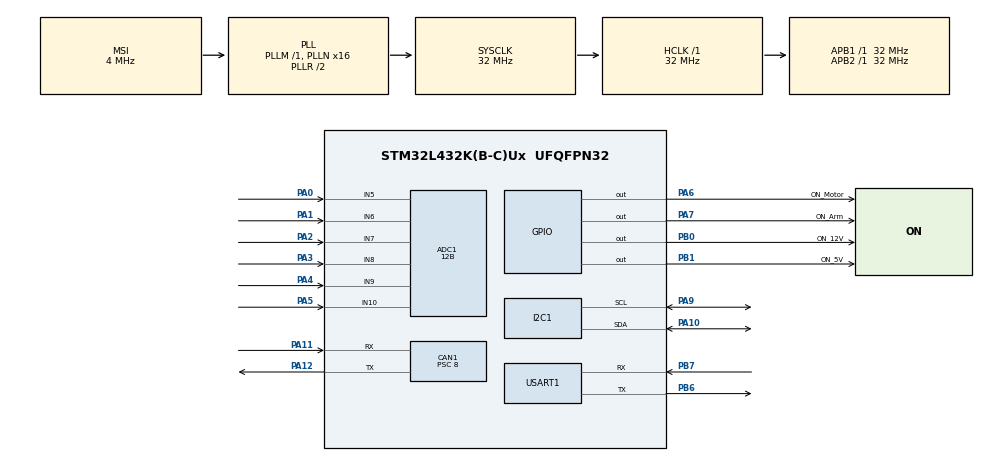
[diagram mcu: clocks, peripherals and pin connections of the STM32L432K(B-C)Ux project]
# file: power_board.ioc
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ADC1.Channel-0\#ChannelRegularConversion=ADC_CHANNEL_5
ADC1.Channel-1\#ChannelRegularConversion=ADC_CHANNEL_6
ADC1.Channel-2\#ChannelRegularConversion=ADC_CHANNEL_7
ADC1.Channel-3\#ChannelRegularConversion=ADC_CHANNEL_8
ADC1.Channel-4\#ChannelRegularConversion=ADC_CHANNEL_9
ADC1.Channel-5\#ChannelRegularConversion=ADC_CHANNEL_10
ADC1.ContinuousConvMode=ENABLE
ADC1.DMAContinuousRequests=ENABLE
ADC1.NbrOfConversion=6
ADC1.NbrOfConversionFlag=1
ADC1.OffsetNumber-0\#ChannelRegularConversion=ADC_OFFSET_NONE
ADC1.OffsetNumber-1\#ChannelRegularConversion=ADC_OFFSET_NONE
ADC1.OffsetNumber-2\#ChannelRegularConversion=ADC_OFFSET_NONE
ADC1.OffsetNumber-3\#ChannelRegularConversion=ADC_OFFSET_NONE
ADC1.OffsetNumber-4\#ChannelRegularConversion=ADC_OFFSET_NONE
ADC1.OffsetNumber-5\#ChannelRegularConversion=ADC_OFFSET_NONE
ADC1.Rank-0\#ChannelRegularConversion=1
ADC1.Rank-1\#ChannelRegularConversion=2
ADC1.Rank-2\#ChannelRegularConversion=3
ADC1.Rank-3\#ChannelRegularConversion=4
ADC1.Rank-4\#ChannelRegularConversion=5
ADC1.Rank-5\#ChannelRegularConversion=6
ADC1.Resolution=ADC_RESOLUTION_12B
ADC1.SamplingTime-0\#ChannelRegularConversion=ADC_SAMPLETIME_92CYCLES_5
ADC1.SamplingTime-1\#ChannelRegularConversion=ADC_SAMPLETIME_92CYCLES_5
ADC1.SamplingTime-2\#ChannelRegularConversion=ADC_SAMPLETIME_92CYCLES_5
ADC1.SamplingTime-3\#ChannelRegularConversion=ADC_SAMPLETIME_92CYCLES_5
ADC1.SamplingTime-4\#ChannelRegularConversion=ADC_SAMPLETIME_92CYCLES_5
ADC1.SamplingTime-5\#ChannelRegularConversion=ADC_SAMPLETIME_92CYCLES_5
ADC1.master=1
CAN1.BS1=CAN_BS1_13TQ
CAN1.BS2=CAN_BS2_2TQ
CAN1.CalculateBaudRate=250000
CAN1.CalculateTimeBit=4000
CAN1.CalculateTimeQuantum=250.0
CAN1.Prescaler=8
Dma.ADC1.0.Direction=DMA_PERIPH_TO_MEMORY
Dma.ADC1.0.Instance=DMA1_Channel1
Dma.ADC1.0.MemDataAlignment=DMA_MDATAALIGN_HALFWORD
Dma.ADC1.0.MemInc=DMA_MINC_ENABLE
Dma.ADC1.0.Mode=DMA_CIRCULAR
Dma.ADC1.0.PeriphDataAlignment=DMA_PDATAALIGN_HALFWORD
Dma.ADC1.0.PeriphInc=DMA_PINC_DISABLE
Dma.ADC1.0.Priority=DMA_PRIORITY_LOW
Dma.Request0=ADC1
I2C1.Timing=0x00B07CB4
Mcu.Family=STM32L4
Mcu.Name=STM32L432K(B-C)Ux
Mcu.Package=UFQFPN32
NVIC.DMA1_Channel1_IRQn=true\:0\:0\:false\:false\:true\:false\:true\:true
NVIC.PriorityGroup=NVIC_PRIORITYGROUP_4
PA0.Signal=ADCx_IN5
PA1.Signal=ADCx_IN6
PA10.Mode=I2C
PA10.Signal=I2C1_SDA
PA11.Mode=CAN_Activate
PA11.Signal=CAN1_RX
PA12.Mode=CAN_Activate
PA12.Signal=CAN1_TX
PA13\ (JTMS-SWDIO).Mode=Serial_Wire
PA13\ (JTMS-SWDIO).Signal=SYS_JTMS-SWDIO
PA14\ (JTCK-SWCLK).Mode=Serial_Wire
PA14\ (JTCK-SWCLK).Signal=SYS_JTCK-SWCLK
PA2.Signal=ADCx_IN7
PA3.Signal=ADCx_IN8
PA4.Signal=ADCx_IN9
PA5.Signal=ADCx_IN10
PA6.GPIO_Label=ON_Motor
PA6.Signal=GPIO_Output
PA7.GPIO_Label=ON_Arm
PA7.Signal=GPIO_Output
PA9.Mode=I2C
PA9.Signal=I2C1_SCL
PB0.GPIO_Label=ON_12V
PB0.Signal=GPIO_Output
PB1.GPIO_Label=ON_5V
PB1.Signal=GPIO_Output
PB6.Mode=Asynchronous
PB6.Signal=USART1_TX
PB7.Mode=Asynchronous
PB7.Signal=USART1_RX
ProjectManager.HeapSize=0x200
ProjectManager.StackSize=0x400
ProjectManager.TargetToolchain=STM32CubeIDE
RCC.ADCFreq_Value=32000000
RCC.AHBFreq_Value=32000000
RCC.APB1Freq_Value=32000000
RCC.APB1TimFreq_Value=32000000
RCC.APB2Freq_Value=32000000
RCC.APB2TimFreq_Value=32000000
RCC.CortexFreq_Value=32000000
RCC.HCLKFreq_Value=32000000
RCC.HSE_VALUE=8000000
RCC.HSI48_VALUE=48000000
RCC.HSI_VALUE=16000000
RCC.LSE_VALUE=32768
RCC.MSI_VALUE=4000000
RCC.PLLN=16
RCC.PLLSAI1N=16
RCC.SYSCLKFreq_VALUE=32000000
RCC.SYSCLKSource=RCC_SYSCLKSOURCE_PLLCLK
RCC.USBFreq_Value=32000000
RCC.VCOOutputFreq_Value=64000000
SH.ADCx_IN10.0=ADC1_IN10,IN10-Single-Ended
SH.ADCx_IN5.0=ADC1_IN5,IN5-Single-Ended
SH.ADCx_IN6.0=ADC1_IN6,IN6-Single-Ended
SH.ADCx_IN7.0=ADC1_IN7,IN7-Single-Ended
SH.ADCx_IN8.0=ADC1_IN8,IN8-Single-Ended
SH.ADCx_IN9.0=ADC1_IN9,IN9-Single-Ended
USART1.VirtualMode-Asynchronous=VM_ASYNC
board=custom

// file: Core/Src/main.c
/* USER CODE BEGIN Header */
/**
  ******************************************************************************
  * @file           : main.c
  * @brief          : Main program body
  ******************************************************************************
  * @attention
  *
  * Copyright (c) 2025 STMicroelectronics.
  * All rights reserved.
  *
  * This software is licensed under terms that can be found in the LICENSE file
  * in the root directory of this software component.
  * If no LICENSE file comes with this software, it is provided AS-IS.
  *
  ******************************************************************************
  */
/* USER CODE END Header */
#include "main.h"

/* USER CODE BEGIN Includes */
#include "stm32l4xx_hal.h"
#include "stm32l4xx_hal_i2c.h"

/* USER CODE END Includes */

ADC_HandleTypeDef hadc1;
DMA_HandleTypeDef hdma_adc1;

CAN_HandleTypeDef hcan1;

I2C_HandleTypeDef hi2c1;

UART_HandleTypeDef huart1;

void SystemClock_Config(void);
static void MX_GPIO_Init(void);
static void MX_DMA_Init(void);
static void MX_CAN1_Init(void);
static void MX_ADC1_Init(void);
static void MX_I2C1_Init(void);
static void MX_USART1_UART_Init(void);
/* USER CODE BEGIN PFP */

void INA226_WriteRegister(uint8_t reg, uint16_t value);
uint16_t INA226_ReadRegister(uint8_t reg);
void INA226_Init(void);
float INA226_ReadCurrent(void);
void Send_CAN_Message(uint8_t d0, uint8_t d1, uint8_t d2, uint8_t d3, uint8_t d4, uint8_t d5, uint8_t d6, uint8_t d7);
void Power_ON();
void Power_OFF();

/* USER CODE END PFP */

/* USER CODE BEGIN 0 */
#define INA226_ADDR        	(0x40 << 1)
#define INA226_REG_CONFIG  	0x00
#define INA226_REG_CALIB   	0x05
#define INA226_REG_CURRENT 	0x04
#define DEVICE_ID			301

#define R_SHUNT 			0.002f
#define CURRENT_LSB         0.002f
#define CALIBRATION_VALUE   ((int)(0.00512f / (CURRENT_LSB * R_SHUNT))) // best if it's an integer (without mapping)

extern I2C_HandleTypeDef hi2c1;

void INA226_WriteRegister(uint8_t reg, uint16_t value)
{
    uint8_t data[3];
    data[0] = reg;
    data[1] = (value >> 8) & 0xFF;
    data[2] = value & 0xFF;
    HAL_I2C_Master_Transmit(&hi2c1, INA226_ADDR, data, 3, HAL_MAX_DELAY);
}

uint16_t INA226_ReadRegister(uint8_t reg)
{
    uint8_t data[2];
    HAL_I2C_Master_Transmit(&hi2c1, INA226_ADDR, &reg, 1, HAL_MAX_DELAY);
    HAL_I2C_Master_Receive(&hi2c1, INA226_ADDR, data, 2, HAL_MAX_DELAY);
    return (data[0] << 8) | data[1];
}

void INA226_Init(void)
{
    INA226_WriteRegister(INA226_REG_CONFIG, 0x4127);
    INA226_WriteRegister(INA226_REG_CALIB, CALIBRATION_VALUE);
}

float INA226_ReadCurrent(void)
{
    uint16_t raw = INA226_ReadRegister(INA226_REG_CURRENT);
    return raw * CURRENT_LSB;
}

void Send_CAN_Message(uint8_t d0, uint8_t d1, uint8_t d2, uint8_t d3, uint8_t d4, uint8_t d5, uint8_t d6, uint8_t d7)
{
    CAN_TxHeaderTypeDef txHeader;
    uint32_t txMailbox;

    txHeader.StdId = 1<<10 | DEVICE_ID;            // Standard 11-bit ID
    txHeader.RTR = CAN_RTR_DATA;       // Data frame
    txHeader.IDE = CAN_ID_STD;         // Standard frame (not extended)
    txHeader.DLC = 8;             // Number of data bytes (1–8)
    txHeader.TransmitGlobalTime = DISABLE;
    static uint8_t data[8];
	data[0] = d0;
	data[1] = d1;
	data[2] = d2;
	data[3] = d3;
	data[4] = d4;
	data[5] = d5;
	data[6] = d6;
	data[7] = d7;
    HAL_CAN_AddTxMessage(&hcan1, &txHeader, data, &txMailbox);
}

void Power_ON()
{
	HAL_GPIO_WritePin(ON_5V_GPIO_Port, ON_5V_Pin, GPIO_PIN_SET);
	HAL_Delay(500);
	HAL_GPIO_WritePin(ON_12V_GPIO_Port, ON_12V_Pin, GPIO_PIN_SET);
	HAL_Delay(500);
	HAL_GPIO_WritePin(ON_Arm_GPIO_Port, ON_Arm_Pin, GPIO_PIN_SET);
	HAL_Delay(500);
	HAL_GPIO_WritePin(ON_Motor_GPIO_Port, ON_Motor_Pin, GPIO_PIN_SET);
}

void Power_OFF()
{
	HAL_GPIO_WritePin(ON_Motor_GPIO_Port, ON_Motor_Pin, GPIO_PIN_RESET);
	// HAL_Delay(250);
	HAL_GPIO_WritePin(ON_Arm_GPIO_Port, ON_Arm_Pin, GPIO_PIN_RESET);
	HAL_GPIO_WritePin(ON_12V_GPIO_Port, ON_12V_Pin, GPIO_PIN_RESET);
	// HAL_Delay(250);
	HAL_GPIO_WritePin(ON_5V_GPIO_Port, ON_5V_Pin, GPIO_PIN_RESET);

}
uint16_t adc_buffer[6];
/* USER CODE END 0 */

int main(void)
{

  /* MCU Configuration--------------------------------------------------------*/

  /* Reset of all peripherals, Initializes the Flash interface and the Systick. */
  HAL_Init();

  /* Configure the system clock */
  SystemClock_Config();

  /* Initialize all configured peripherals */
  MX_GPIO_Init();
  MX_DMA_Init();
  MX_CAN1_Init();
  MX_ADC1_Init();
  MX_I2C1_Init();
  MX_USART1_UART_Init();
  /* USER CODE BEGIN 2 */

  // Configure CAN Filter
  CAN_FilterTypeDef canfilter;
  canfilter.FilterActivation = CAN_FILTER_ENABLE;
  canfilter.FilterBank = 0;
  canfilter.FilterFIFOAssignment = CAN_RX_FIFO0;
  canfilter.FilterIdHigh = 0x0000; // Accept all IDs (or filter specific ones)
  canfilter.FilterIdLow = 0x0000;
  canfilter.FilterMaskIdHigh = 0x0000;
  canfilter.FilterMaskIdLow = 0x0000;
  canfilter.FilterMode = CAN_FILTERMODE_IDMASK;
  canfilter.FilterScale = CAN_FILTERSCALE_32BIT;
  HAL_CAN_ConfigFilter(&hcan1, &canfilter);

  HAL_CAN_Start(&hcan1);
  HAL_CAN_ActivateNotification(&hcan1, CAN_IT_TX_MAILBOX_EMPTY);
  HAL_CAN_ActivateNotification(&hcan1, CAN_IT_RX_FIFO0_MSG_PENDING);

  Power_ON();

  HAL_ADC_Start_DMA(&hadc1, adc_buffer, 6);
  /* USER CODE END 2 */

  /* Infinite loop */
  /* USER CODE BEGIN WHILE */
  while (1)
  {
	  HAL_Delay(1000);
	  float lastVoltage = 0.0;
	  float minVoltage = 10.0;
	  for (int i = 0; i < 6; i++)
	  {
		  float voltage = adc_buffer[i] * (3.3f / 4095.0f);
		  voltage *= (((float)(3 * (i + 1))) / 2.0f);
		  float tmp = voltage;
		  voltage -= lastVoltage;
		  lastVoltage = tmp;

		  if (minVoltage > voltage) {
			  minVoltage = voltage;
		  }

		  // if (voltage < 3.6) {
			// HAL_GPIO_WritePin(ON_Motor_GPIO_Port, ON_Motor_Pin, GPIO_PIN_RESET);
		  // }

		  // if (voltage < 3.5) {
			//   HAL_GPIO_WritePin(ON_Arm_GPIO_Port, ON_Arm_Pin, GPIO_PIN_RESET);
			//   HAL_GPIO_WritePin(ON_12V_GPIO_Port, ON_12V_Pin, GPIO_PIN_RESET);
		  // }
	  }

	  Send_CAN_Message(0, (uint8_t)(adc_buffer[0] >> 8), (uint8_t)(adc_buffer[0]), (uint8_t)(adc_buffer[1] >> 8), (uint8_t)(adc_buffer[1]), (uint8_t)(adc_buffer[2] >> 8), (uint8_t)(adc_buffer[2]), 0);
	  Send_CAN_Message(1, (uint8_t)(adc_buffer[3] >> 8), (uint8_t)(adc_buffer[3]), (uint8_t)(adc_buffer[4] >> 8), (uint8_t)(adc_buffer[4]), (uint8_t)(adc_buffer[5] >> 8), (uint8_t)(adc_buffer[5]), 0);

	  if (minVoltage > 3.7) {
		  Power_ON();
	  }

    /* USER CODE END WHILE */

  }
}

void SystemClock_Config(void)
{
  RCC_OscInitTypeDef RCC_OscInitStruct = {0};
  RCC_ClkInitTypeDef RCC_ClkInitStruct = {0};

  /** Configure the main internal regulator output voltage
  */
  if (HAL_PWREx_ControlVoltageScaling(PWR_REGULATOR_VOLTAGE_SCALE1) != HAL_OK)
  {
    Error_Handler();
  }

  /** Initializes the RCC Oscillators according to the specified parameters
  * in the RCC_OscInitTypeDef structure.
  */
  RCC_OscInitStruct.OscillatorType = RCC_OSCILLATORTYPE_MSI;
  RCC_OscInitStruct.MSIState = RCC_MSI_ON;
  RCC_OscInitStruct.MSICalibrationValue = 0;
  RCC_OscInitStruct.MSIClockRange = RCC_MSIRANGE_6;
  RCC_OscInitStruct.PLL.PLLState = RCC_PLL_ON;
  RCC_OscInitStruct.PLL.PLLSource = RCC_PLLSOURCE_MSI;
  RCC_OscInitStruct.PLL.PLLM = 1;
  RCC_OscInitStruct.PLL.PLLN = 16;
  RCC_OscInitStruct.PLL.PLLP = RCC_PLLP_DIV7;
  RCC_OscInitStruct.PLL.PLLQ = RCC_PLLQ_DIV2;
  RCC_OscInitStruct.PLL.PLLR = RCC_PLLR_DIV2;
  if (HAL_RCC_OscConfig(&RCC_OscInitStruct) != HAL_OK)
  {
    Error_Handler();
  }

  /** Initializes the CPU, AHB and APB buses clocks
  */
  RCC_ClkInitStruct.ClockType = RCC_CLOCKTYPE_HCLK|RCC_CLOCKTYPE_SYSCLK
                              |RCC_CLOCKTYPE_PCLK1|RCC_CLOCKTYPE_PCLK2;
  RCC_ClkInitStruct.SYSCLKSource = RCC_SYSCLKSOURCE_PLLCLK;
  RCC_ClkInitStruct.AHBCLKDivider = RCC_SYSCLK_DIV1;
  RCC_ClkInitStruct.APB1CLKDivider = RCC_HCLK_DIV1;
  RCC_ClkInitStruct.APB2CLKDivider = RCC_HCLK_DIV1;

  if (HAL_RCC_ClockConfig(&RCC_ClkInitStruct, FLASH_LATENCY_1) != HAL_OK)
  {
    Error_Handler();
  }
}

static void MX_ADC1_Init(void)
{

  ADC_ChannelConfTypeDef sConfig = {0};

  /** Common config
  */
  hadc1.Instance = ADC1;
  hadc1.Init.ClockPrescaler = ADC_CLOCK_ASYNC_DIV1;
  hadc1.Init.Resolution = ADC_RESOLUTION_12B;
  hadc1.Init.DataAlign = ADC_DATAALIGN_RIGHT;
  hadc1.Init.ScanConvMode = ADC_SCAN_ENABLE;
  hadc1.Init.EOCSelection = ADC_EOC_SINGLE_CONV;
  hadc1.Init.LowPowerAutoWait = DISABLE;
  hadc1.Init.ContinuousConvMode = ENABLE;
  hadc1.Init.NbrOfConversion = 6;
  hadc1.Init.DiscontinuousConvMode = DISABLE;
  hadc1.Init.ExternalTrigConv = ADC_SOFTWARE_START;
  hadc1.Init.ExternalTrigConvEdge = ADC_EXTERNALTRIGCONVEDGE_NONE;
  hadc1.Init.DMAContinuousRequests = ENABLE;
  hadc1.Init.Overrun = ADC_OVR_DATA_PRESERVED;
  hadc1.Init.OversamplingMode = DISABLE;
  if (HAL_ADC_Init(&hadc1) != HAL_OK)
  {
    Error_Handler();
  }

  /** Configure Regular Channel
  */
  sConfig.Channel = ADC_CHANNEL_5;
  sConfig.Rank = ADC_REGULAR_RANK_1;
  sConfig.SamplingTime = ADC_SAMPLETIME_92CYCLES_5;
  sConfig.SingleDiff = ADC_SINGLE_ENDED;
  sConfig.OffsetNumber = ADC_OFFSET_NONE;
  sConfig.Offset = 0;
  if (HAL_ADC_ConfigChannel(&hadc1, &sConfig) != HAL_OK)
  {
    Error_Handler();
  }

  /** Configure Regular Channel
  */
  sConfig.Channel = ADC_CHANNEL_6;
  sConfig.Rank = ADC_REGULAR_RANK_2;
  if (HAL_ADC_ConfigChannel(&hadc1, &sConfig) != HAL_OK)
  {
    Error_Handler();
  }

  /** Configure Regular Channel
  */
  sConfig.Channel = ADC_CHANNEL_7;
  sConfig.Rank = ADC_REGULAR_RANK_3;
  if (HAL_ADC_ConfigChannel(&hadc1, &sConfig) != HAL_OK)
  {
    Error_Handler();
  }

  /** Configure Regular Channel
  */
  sConfig.Channel = ADC_CHANNEL_8;
  sConfig.Rank = ADC_REGULAR_RANK_4;
  if (HAL_ADC_ConfigChannel(&hadc1, &sConfig) != HAL_OK)
  {
    Error_Handler();
  }

  /** Configure Regular Channel
  */
  sConfig.Channel = ADC_CHANNEL_9;
  sConfig.Rank = ADC_REGULAR_RANK_5;
  if (HAL_ADC_ConfigChannel(&hadc1, &sConfig) != HAL_OK)
  {
    Error_Handler();
  }

  /** Configure Regular Channel
  */
  sConfig.Channel = ADC_CHANNEL_10;
  sConfig.Rank = ADC_REGULAR_RANK_6;
  if (HAL_ADC_ConfigChannel(&hadc1, &sConfig) != HAL_OK)
  {
    Error_Handler();
  }

}

static void MX_CAN1_Init(void)
{

  hcan1.Instance = CAN1;
  hcan1.Init.Prescaler = 8;
  hcan1.Init.Mode = CAN_MODE_NORMAL;
  hcan1.Init.SyncJumpWidth = CAN_SJW_1TQ;
  hcan1.Init.TimeSeg1 = CAN_BS1_13TQ;
  hcan1.Init.TimeSeg2 = CAN_BS2_2TQ;
  hcan1.Init.TimeTriggeredMode = DISABLE;
  hcan1.Init.AutoBusOff = DISABLE;
  hcan1.Init.AutoWakeUp = DISABLE;
  hcan1.Init.AutoRetransmission = DISABLE;
  hcan1.Init.ReceiveFifoLocked = DISABLE;
  hcan1.Init.TransmitFifoPriority = DISABLE;
  if (HAL_CAN_Init(&hcan1) != HAL_OK)
  {
    Error_Handler();
  }

}

static void MX_I2C1_Init(void)
{

  hi2c1.Instance = I2C1;
  hi2c1.Init.Timing = 0x00B07CB4;
  hi2c1.Init.OwnAddress1 = 0;
  hi2c1.Init.AddressingMode = I2C_ADDRESSINGMODE_7BIT;
  hi2c1.Init.DualAddressMode = I2C_DUALADDRESS_DISABLE;
  hi2c1.Init.OwnAddress2 = 0;
  hi2c1.Init.OwnAddress2Masks = I2C_OA2_NOMASK;
  hi2c1.Init.GeneralCallMode = I2C_GENERALCALL_DISABLE;
  hi2c1.Init.NoStretchMode = I2C_NOSTRETCH_DISABLE;
  if (HAL_I2C_Init(&hi2c1) != HAL_OK)
  {
    Error_Handler();
  }

  /** Configure Analogue filter
  */
  if (HAL_I2CEx_ConfigAnalogFilter(&hi2c1, I2C_ANALOGFILTER_ENABLE) != HAL_OK)
  {
    Error_Handler();
  }

  /** Configure Digital filter
  */
  if (HAL_I2CEx_ConfigDigitalFilter(&hi2c1, 0) != HAL_OK)
  {
    Error_Handler();
  }

}

static void MX_USART1_UART_Init(void)
{

  huart1.Instance = USART1;
  huart1.Init.BaudRate = 115200;
  huart1.Init.WordLength = UART_WORDLENGTH_8B;
  huart1.Init.StopBits = UART_STOPBITS_1;
  huart1.Init.Parity = UART_PARITY_NONE;
  huart1.Init.Mode = UART_MODE_TX_RX;
  huart1.Init.HwFlowCtl = UART_HWCONTROL_NONE;
  huart1.Init.OverSampling = UART_OVERSAMPLING_16;
  huart1.Init.OneBitSampling = UART_ONE_BIT_SAMPLE_DISABLE;
  huart1.AdvancedInit.AdvFeatureInit = UART_ADVFEATURE_NO_INIT;
  if (HAL_UART_Init(&huart1) != HAL_OK)
  {
    Error_Handler();
  }

}

static void MX_DMA_Init(void)
{

  /* DMA controller clock enable */
  __HAL_RCC_DMA1_CLK_ENABLE();

  /* DMA interrupt init */
  /* DMA1_Channel1_IRQn interrupt configuration */
  HAL_NVIC_SetPriority(DMA1_Channel1_IRQn, 0, 0);
  HAL_NVIC_EnableIRQ(DMA1_Channel1_IRQn);

}

static void MX_GPIO_Init(void)
{
  GPIO_InitTypeDef GPIO_InitStruct = {0};

  /* GPIO Ports Clock Enable */
  __HAL_RCC_GPIOA_CLK_ENABLE();
  __HAL_RCC_GPIOB_CLK_ENABLE();

  /*Configure GPIO pin Output Level */
  HAL_GPIO_WritePin(GPIOA, ON_Motor_Pin|ON_Arm_Pin, GPIO_PIN_RESET);

  /*Configure GPIO pin Output Level */
  HAL_GPIO_WritePin(GPIOB, ON_12V_Pin|ON_5V_Pin, GPIO_PIN_RESET);

  /*Configure GPIO pins : ON_Motor_Pin ON_Arm_Pin */
  GPIO_InitStruct.Pin = ON_Motor_Pin|ON_Arm_Pin;
  GPIO_InitStruct.Mode = GPIO_MODE_OUTPUT_PP;
  GPIO_InitStruct.Pull = GPIO_NOPULL;
  GPIO_InitStruct.Speed = GPIO_SPEED_FREQ_LOW;
  HAL_GPIO_Init(GPIOA, &GPIO_InitStruct);

  /*Configure GPIO pins : ON_12V_Pin ON_5V_Pin */
  GPIO_InitStruct.Pin = ON_12V_Pin|ON_5V_Pin;
  GPIO_InitStruct.Mode = GPIO_MODE_OUTPUT_PP;
  GPIO_InitStruct.Pull = GPIO_NOPULL;
  GPIO_InitStruct.Speed = GPIO_SPEED_FREQ_LOW;
  HAL_GPIO_Init(GPIOB, &GPIO_InitStruct);

}

/* USER CODE BEGIN 4 */

void HAL_CAN_RxFifo0MsgPendingCallback(CAN_HandleTypeDef *hcan)
{
    CAN_RxHeaderTypeDef rxHeader;
    uint8_t rxData[8];

    HAL_CAN_GetRxMessage(hcan, CAN_RX_FIFO0, &rxHeader, rxData);

    // Process message:
    if (rxHeader.StdId == DEVICE_ID && rxHeader.DLC == 8)
    {
        uint8_t receivedValue = rxData[0];
        if(receivedValue == 1)
        {
        	HAL_GPIO_WritePin(ON_Motor_GPIO_Port, ON_Motor_Pin, GPIO_PIN_RESET);
        }
        if(receivedValue == 2)
        {
        	HAL_GPIO_WritePin(ON_Motor_GPIO_Port, ON_Motor_Pin, GPIO_PIN_SET);
        }
        if(receivedValue == 3)
        {
        	Power_OFF();
        }
    }
}
/* USER CODE END 4 */

void Error_Handler(void)
{
  __disable_irq();
  while (1)
  {
  }
}
